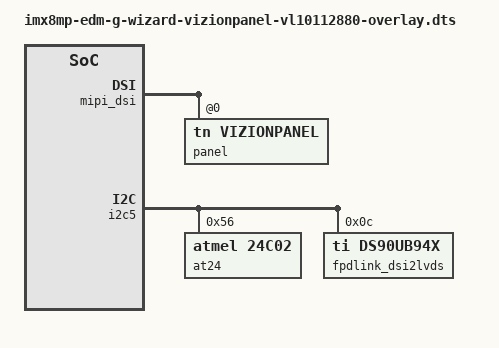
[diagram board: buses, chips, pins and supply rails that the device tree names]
// SPDX-License-Identifier: (GPL-2.0+ OR MIT)
/*
 * Copyright 2020 TechNexion Ltd.
 *
 * Author: Richard Hu <richard.hu@technexion.com>
 *
 */

/dts-v1/;
/plugin/;

#include <dt-bindings/interrupt-controller/irq.h>
#include <dt-bindings/gpio/gpio.h>

/ {
	fragment@0 {
		target-path = "/";
		__overlay__ {
			backlight_mipi {
				status = "okay";
			};
		};
	};

	fragment@1 {
		target = <&mipi_dsi>;
		__overlay__ {
			status = "okay";
			#address-cells = <1>;
			#size-cells = <0>;

			panel@0 {
				compatible = "tn,vizionpanel";
				reg = <0>;
				status = "okay";
			};
		};
	};

	fragment@2 {
		target = <&i2c5>;
		__overlay__ {
			#address-cells = <1>;
			#size-cells = <0>;
			status = "okay";

			at24@56 {
				compatible = "atmel,24c02";
				pagesize = <8>;
				reg = <0x56>;
			};

			fpdlink_dsi2lvds: ds90ub948@0c {
				compatible = "ti,ds90ub94x";
				reg = <0x0c>;
			};
		};
	};
};
